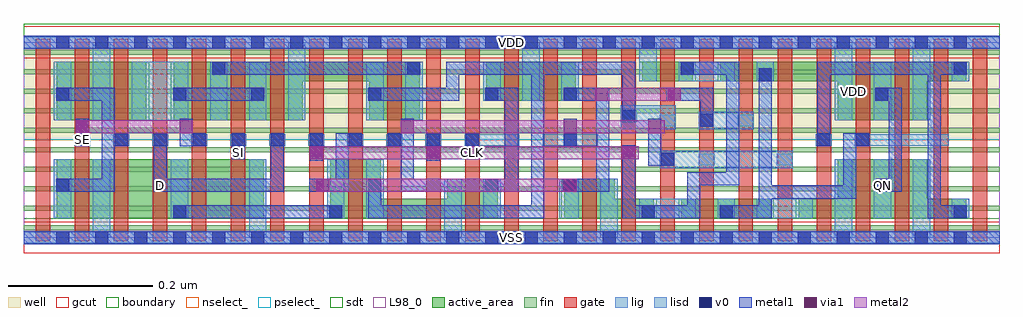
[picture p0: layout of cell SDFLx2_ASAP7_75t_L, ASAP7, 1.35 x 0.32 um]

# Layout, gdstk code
import gdstk
lib = gdstk.Library(unit=1e-6, precision=2.5e-10)
def R(c, l, rs):  # rectangles x0, y0, x1, y1
    for r in rs: c.add(gdstk.rectangle(r[:2], r[2:], *l))
def A(c, l, x, y, w, h, nx, ny, dx, dy):  # array of equal rectangles
    R(c, l, [(x+i*dx, y+j*dy, x+i*dx+w, y+j*dy+h) for i in range(nx) for j in range(ny)])
def P(c, l, *ps):  # polygons
    for p in ps: c.add(gdstk.Polygon(p, *l))
well = (1, 0)
fin = (2, 0)
gate = (7, 0)
gcut = (10, 0)
active_area = (11, 0)
nselect_ = (12, 0)
pselect_ = (13, 0)
lig = (16, 0)
lisd = (17, 0)
v0 = (18, 0)
metal1 = (19, 0)
metal2 = (20, 0)
via1 = (21, 0)
sdt = (88, 0)
L98_0 = (98, 0)
boundary = (100, 0)

sdflx2_asap7_75t_l = lib.new_cell('SDFLx2_ASAP7_75t_L')
R(sdflx2_asap7_75t_l, well, [(0,0.135,1.35,0.27)])
A(sdflx2_asap7_75t_l, fin, 0, 0.01, 1.35, 0.007, 1, 10, 0, 0.027)
A(sdflx2_asap7_75t_l, gate, 0.017, -0.005, 0.02, 0.28, 25, 1, 0.054, 0)
R(sdflx2_asap7_75t_l, gcut, [(0,-0.022,1.35,0.022), (0,0.248,1.35,0.292)])
R(sdflx2_asap7_75t_l, active_area, [(0.046,0.027,0.332,0.108), (0.91,0.027,1.034,0.054), (0.046,0.162,0.17,0.243), (0.64,0.189,0.764,0.243), (0.856,0.216,0.926,0.243)])
P(sdflx2_asap7_75t_l, active_area, [(0.872,0.054),(0.818,0.054),(0.818,0.081),(0.748,0.081),(0.748,0.027),(0.872,0.027)],
  [(1.126,0.054),(1.072,0.054),(1.072,0.027),(1.304,0.027),(1.304,0.054),(1.25,0.054),(1.25,0.108),(1.126,0.108)],
  [(0.494,0.108),(0.424,0.108),(0.424,0.027),(0.656,0.027),(0.656,0.081),(0.586,0.081),(0.586,0.054),(0.494,0.054)],
  [(0.478,0.162),(0.548,0.162),(0.548,0.243),(0.208,0.243),(0.208,0.162),(0.386,0.162),(0.386,0.216),(0.478,0.216)],
  [(0.964,0.216),(1.126,0.216),(1.126,0.162),(1.25,0.162),(1.25,0.216),(1.304,0.216),(1.304,0.243),(0.964,0.243)])
R(sdflx2_asap7_75t_l, nselect_, [(0,0,1.35,0.135)])
R(sdflx2_asap7_75t_l, pselect_, [(0,0.135,1.35,0.27)])
A(sdflx2_asap7_75t_l, lig, 0.07, 0.127, 0.022, 0.016, 10, 1, 0.054, 0)
R(sdflx2_asap7_75t_l, lig, [(0,-0.008,1.35,0.008), (0.934,0.1,0.956,0.116), (1.042,0.1,1.064,0.116), (0.61,0.127,0.686,0.143), (0.718,0.127,0.794,0.143), (1.096,0.127,1.118,0.143), (1.15,0.127,1.28,0.143), (0.88,0.154,0.902,0.17), (0.988,0.154,1.01,0.17), (0.826,0.16,0.848,0.176), (0,0.262,1.35,0.278)])
R(sdflx2_asap7_75t_l, lisd, [(0.096,0,0.12,0.108), (0.312,0,0.336,0.108), (0.582,0,0.606,0.081), (0.798,0,0.822,0.081), (1.122,0,1.146,0.108), (1.23,0,1.254,0.108), (0.042,0.027,0.066,0.108), (0.204,0.027,0.228,0.108), (0.42,0.027,0.444,0.108), (0.474,0.027,0.498,0.108), (0.636,0.027,0.66,0.081), (0.741,0.027,0.768,0.081), (0.852,0.027,0.93,0.054), (0.96,0.027,0.984,0.054), (1.014,0.027,1.092,0.054), (1.176,0.027,1.2,0.108), (1.284,0.027,1.308,0.054), (0.88,0.096,1.064,0.12), (0.826,0.15,0.902,0.183), (0.934,0.15,1.01,0.174), (0.042,0.162,0.066,0.243), (0.096,0.162,0.12,0.27), (0.15,0.162,0.228,0.243), (0.258,0.162,0.282,0.243), (0.312,0.162,0.336,0.243), (0.366,0.162,0.39,0.27), (0.474,0.162,0.498,0.243), (0.528,0.162,0.552,0.243), (1.122,0.162,1.146,0.27), (1.176,0.162,1.2,0.243), (1.23,0.162,1.254,0.27), (0.636,0.189,0.66,0.243), (0.69,0.189,0.714,0.27), (0.744,0.189,0.768,0.243), (0.852,0.216,0.876,0.27), (0.906,0.216,0.984,0.243), (1.014,0.216,1.038,0.243), (1.284,0.216,1.308,0.243)])
A(sdflx2_asap7_75t_l, v0, 0.045, -0.009, 0.018, 0.018, 24, 2, 0.054, 0.27)
A(sdflx2_asap7_75t_l, v0, 0.072, 0.126, 0.018, 0.018, 11, 1, 0.054, 0)
A(sdflx2_asap7_75t_l, v0, 0.315, 0.189, 0.018, 0.018, 3, 1, 0.162, 0)
A(sdflx2_asap7_75t_l, v0, 0.531, 0.225, 0.018, 0.018, 3, 1, 0.378, 0)
R(sdflx2_asap7_75t_l, v0, [(0.207,0.027,0.225,0.045), (0.423,0.027,0.441,0.045), (0.855,0.027,0.873,0.045), (0.963,0.027,0.981,0.045), (1.287,0.027,1.305,0.045), (0.045,0.063,0.063,0.081), (0.477,0.063,0.495,0.081), (0.639,0.063,0.657,0.081), (0.745,0.063,0.763,0.081), (1.179,0.063,1.197,0.081), (0.882,0.099,0.9,0.117), (0.747,0.126,0.765,0.144), (1.098,0.126,1.116,0.144), (1.152,0.126,1.17,0.144), (0.936,0.153,0.954,0.171), (0.828,0.159,0.846,0.177), (0.045,0.189,0.063,0.207), (0.207,0.189,0.225,0.207), (0.747,0.189,0.765,0.207), (1.178,0.189,1.196,0.207), (1.017,0.216,1.035,0.234), (0.261,0.225,0.279,0.243)])
R(sdflx2_asap7_75t_l, metal1, [(0,-0.009,1.35,0.009), (0.207,0.027,0.441,0.045), (0.396,0.106,0.414,0.144), (0.558,0.106,0.576,0.144), (0.288,0.108,0.306,0.144), (0.612,0.108,0.63,0.144), (0.072,0.126,0.09,0.164), (0.747,0.126,0.765,0.164), (0.207,0.189,0.333,0.207), (0.261,0.225,0.549,0.243), (0,0.261,1.35,0.279)])
P(sdflx2_asap7_75t_l, metal1, [(0.45,0.126),(0.468,0.126),(0.468,0.144),(0.432,0.144),(0.432,0.081),(0.395,0.081),(0.395,0.063),(0.45,0.063)],
  [(0.36,0.144),(0.342,0.144),(0.342,0.081),(0.198,0.081),(0.198,0.144),(0.18,0.144),(0.18,0.063),(0.36,0.063)],
  [(0.9,0.117),(0.882,0.117),(0.882,0.164),(0.864,0.164),(0.864,0.099),(0.9,0.099)],
  [(0.252,0.144),(0.234,0.144),(0.234,0.164),(0.216,0.164),(0.216,0.126),(0.252,0.126)],
  [(1.215,0.207),(1.178,0.207),(1.178,0.189),(1.197,0.189),(1.197,0.081),(1.179,0.081),(1.179,0.063),(1.215,0.063)],
  [(0.126,0.126),(0.144,0.126),(0.144,0.144),(0.126,0.144),(0.126,0.207),(0.045,0.207),(0.045,0.189),(0.108,0.189),(0.108,0.081),(0.045,0.081),(0.045,0.063),(0.126,0.063)],
  [(0.954,0.207),(0.889,0.207),(0.889,0.189),(0.936,0.189),(0.936,0.153),(0.954,0.153)],
  [(0.81,0.207),(0.747,0.207),(0.747,0.189),(0.792,0.189),(0.792,0.081),(0.745,0.081),(0.745,0.063),(0.81,0.063)],
  [(0.684,0.207),(0.639,0.207),(0.639,0.189),(0.666,0.189),(0.666,0.081),(0.54,0.081),(0.54,0.164),(0.522,0.164),(0.522,0.144),(0.504,0.144),(0.504,0.126),(0.522,0.126),(0.522,0.063),(0.684,0.063)],
  [(0.936,0.072),(0.99,0.072),(0.99,0.243),(0.909,0.243),(0.909,0.225),(0.972,0.225),(0.972,0.09),(0.918,0.09),(0.918,0.045),(0.846,0.045),(0.846,0.128),(0.828,0.128),(0.828,0.027),(0.936,0.027)],
  [(1.035,0.054),(1.152,0.054),(1.152,0.126),(1.17,0.126),(1.17,0.144),(1.134,0.144),(1.134,0.072),(1.035,0.072),(1.035,0.234),(1.017,0.234),(1.017,0.045),(0.963,0.045),(0.963,0.027),(1.035,0.027)],
  [(1.305,0.243),(1.098,0.243),(1.098,0.126),(1.116,0.126),(1.116,0.225),(1.251,0.225),(1.251,0.027),(1.305,0.027),(1.305,0.045),(1.269,0.045),(1.269,0.225),(1.305,0.225)],
  [(0.72,0.225),(0.828,0.225),(0.828,0.159),(0.846,0.159),(0.846,0.243),(0.585,0.243),(0.585,0.207),(0.477,0.207),(0.477,0.189),(0.603,0.189),(0.603,0.225),(0.702,0.225),(0.702,0.045),(0.495,0.045),(0.495,0.081),(0.477,0.081),(0.477,0.027),(0.72,0.027)])
R(sdflx2_asap7_75t_l, metal2, [(0.405,0.063,0.765,0.081), (0.396,0.108,0.851,0.126), (0.072,0.144,0.234,0.162), (0.522,0.144,0.887,0.162), (0.79,0.189,0.909,0.207)])
R(sdflx2_asap7_75t_l, via1, [(0.405,0.063,0.423,0.081), (0.747,0.063,0.765,0.081), (0.396,0.108,0.414,0.126), (0.558,0.108,0.576,0.126), (0.828,0.108,0.846,0.126), (0.072,0.144,0.09,0.162), (0.216,0.144,0.234,0.162), (0.522,0.144,0.54,0.162), (0.747,0.144,0.765,0.162), (0.864,0.144,0.882,0.162), (0.79,0.189,0.808,0.207), (0.891,0.189,0.909,0.207)])
A(sdflx2_asap7_75t_l, sdt, 0.096, 0.027, 0.024, 0.081, 4, 1, 0.108, 0)
A(sdflx2_asap7_75t_l, sdt, 0.852, 0.027, 0.024, 0.027, 5, 1, 0.054, 0)
A(sdflx2_asap7_75t_l, sdt, 1.122, 0.027, 0.024, 0.081, 3, 2, 0.054, 0.135)
A(sdflx2_asap7_75t_l, sdt, 0.042, 0.162, 0.024, 0.081, 7, 1, 0.054, 0)
A(sdflx2_asap7_75t_l, sdt, 0.636, 0.189, 0.024, 0.054, 3, 1, 0.054, 0)
A(sdflx2_asap7_75t_l, sdt, 0.852, 0.216, 0.024, 0.027, 4, 1, 0.054, 0)
R(sdflx2_asap7_75t_l, sdt, [(0.042,0.027,0.066,0.108), (0.474,0.027,0.498,0.108), (0.582,0.027,0.606,0.081), (0.636,0.027,0.66,0.081), (0.744,0.027,0.768,0.081), (0.798,0.027,0.822,0.081), (1.284,0.027,1.308,0.054), (0.474,0.162,0.498,0.243), (0.528,0.162,0.552,0.243), (1.284,0.216,1.308,0.243)])
R(sdflx2_asap7_75t_l, L98_0, [(0,0,1.35,0.27)])
R(sdflx2_asap7_75t_l, boundary, [(0,0.026,1.35,0.296)])
sdflx2_asap7_75t_l.add(gdstk.Label('SI', (0.297,0.117), layer=19, texttype=251))
sdflx2_asap7_75t_l.add(gdstk.Label('SE', (0.081,0.135), layer=19, texttype=251))
sdflx2_asap7_75t_l.add(gdstk.Label('QN', (1.188,0.072), layer=19, texttype=251))
sdflx2_asap7_75t_l.add(gdstk.Label('D', (0.189,0.072), layer=19, texttype=251))
sdflx2_asap7_75t_l.add(gdstk.Label('CLK', (0.621,0.117), layer=19, texttype=251))
sdflx2_asap7_75t_l.add(gdstk.Label('VSS', (0.675,0), layer=19, texttype=251))
sdflx2_asap7_75t_l.add(gdstk.Label('VDD', (0.675,0.27), layer=19, texttype=251))
sdflx2_asap7_75t_l.add(gdstk.Label('VDD', (1.1475,0.2025), layer=1, texttype=251))
sdflx2_asap7_75t_l.add(gdstk.Label('VSS', (1.5525,0.2025), layer=3, texttype=251))

lib.write_gds('SDFLx2_ASAP7_75t_L.gds')
